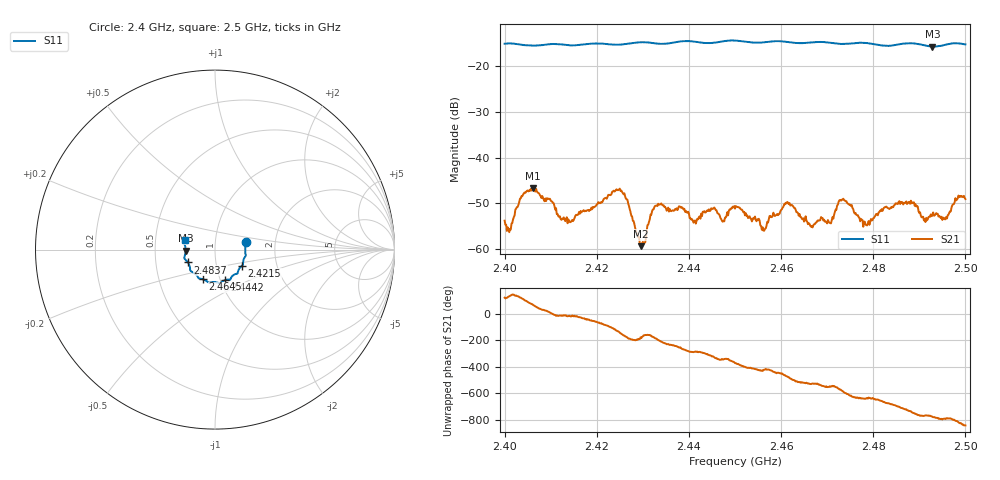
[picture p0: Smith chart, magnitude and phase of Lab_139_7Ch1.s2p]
# Hz S RI R 50
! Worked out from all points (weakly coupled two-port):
!   601 points, 2.4 GHz to 2.5 GHz, reference 50 ohm
!   highest |S21| = -46.64 dB at 2.4062 GHz (marker M1); lowest = -59.4 dB at 2.4295 GHz (marker M2)
!   lowest |S11| = -15.7 dB at 2.4928 GHz (marker M3), VSWR 1.39, Z = 35.9 - j0.374 ohm
!   |S11| at or under -10 dB: start of sweep to end of sweep
!   S12 and S22 are empty: the file has one direction only
!   S11 on the Smith chart (normalised r, x): 2.4 GHz: 1.41, +0.12; 2.4215 GHz: 1.33, -0.25; 2.4442 GHz: 1.05, -0.37; 2.4645 GHz: 0.83, -0.29; 2.4837 GHz: 0.73, -0.11; 2.5 GHz: 0.71, +0.07
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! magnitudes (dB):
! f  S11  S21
! 2.4 GHz  -15.1  -53.8
! 2.4062 GHz  -15.5  -46.6
! 2.4127 GHz  -15.3  -53.4
! 2.4167 GHz  -15.3  -52.0
! 2.4215 GHz  -15.1  -49.1
! 2.4255 GHz  -15.3  -47.6
! 2.4295 GHz  -14.8  -59.4
! 2.4333 GHz  -15.1  -50.1
! 2.4412 GHz  -14.6  -54.0
! 2.4442 GHz  -15.0  -51.7
! 2.45 GHz  -14.4  -51.2
! 2.4562 GHz  -14.8  -56.0
! 2.4612 GHz  -14.7  -50.1
! 2.4645 GHz  -15.0  -53.4
! 2.4667 GHz  -14.8  -55.0
! 2.4708 GHz  -14.9  -54.4
! 2.4732 GHz  -15.1  -49.3
! 2.4783 GHz  -14.9  -54.7
! 2.4833 GHz  -15.6  -51.1
! 2.4837 GHz  -15.5  -51.1
! 2.4928 GHz  -15.7  -52.6
! 2.5 GHz  -15.3  -49.1
